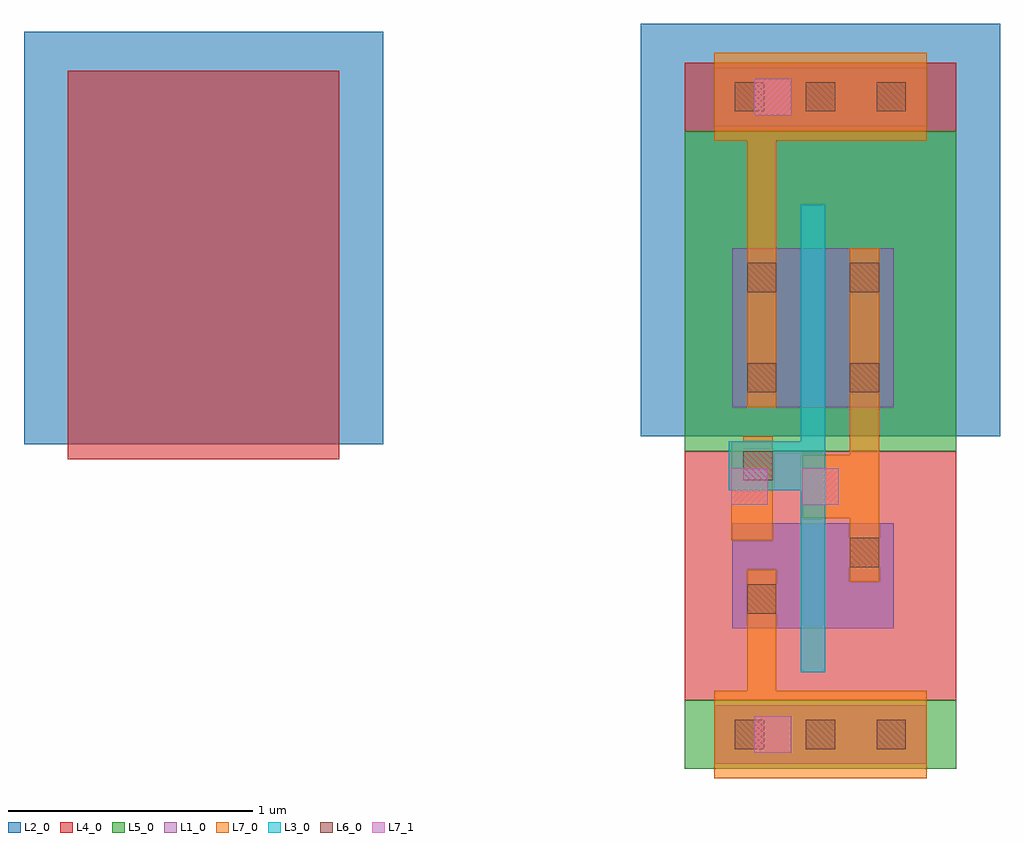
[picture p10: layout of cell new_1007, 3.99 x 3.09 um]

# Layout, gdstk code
import gdstk
lib = gdstk.Library(unit=1e-6, precision=1e-09)
def R(c, l, rs):  # rectangles x0, y0, x1, y1
    for r in rs: c.add(gdstk.rectangle(r[:2], r[2:], *l))
def A(c, l, x, y, w, h, nx, ny, dx, dy):  # array of equal rectangles
    R(c, l, [(x+i*dx, y+j*dy, x+i*dx+w, y+j*dy+h) for i in range(nx) for j in range(ny)])
L1_0 = (1, 0)
L2_0 = (2, 0)
L3_0 = (3, 0)
L4_0 = (4, 0)
L5_0 = (5, 0)
L6_0 = (6, 0)
L7_0 = (7, 0)
L7_1 = (7, 1)

invx1 = lib.new_cell('INVX1')
R(invx1, L1_0, [(0,-0.12,0.87,0.12), (0.075,0.435,0.735,0.865), (0.075,1.34,0.735,1.99), (0,2.49,0.87,2.73)])
R(invx1, L2_0, [(-0.3,1.22,1.17,2.91)])
R(invx1, L3_0, [(0.355,0.255,0.455,1), (0.06,1,0.455,1.2), (0.355,1.2,0.455,2.17)])
R(invx1, L4_0, [(-0.12,0.14,0.99,1.16), (-0.12,2.47,0.99,2.75)])
R(invx1, L5_0, [(-0.12,-0.14,0.99,0.14), (-0.12,1.16,0.99,2.47)])
A(invx1, L6_0, 0.085, -0.06, 0.12, 0.12, 3, 2, 0.29, 2.61)
R(invx1, L6_0, [(0.135,0.495,0.255,0.615), (0.555,0.685,0.675,0.805), (0.12,1.04,0.24,1.16), (0.135,1.4,0.255,1.52), (0.555,1.4,0.675,1.52), (0.135,1.81,0.255,1.93), (0.555,1.81,0.675,1.93)])
R(invx1, L7_0, [(0,-0.18,0.87,0.18), (0.135,0.18,0.255,0.675), (0.555,0.625,0.675,0.885), (0.07,0.795,0.24,1.2), (0.36,0.885,0.675,1.145), (0.555,1.145,0.675,1.99), (0.12,1.2,0.24,1.22), (0.135,1.34,0.255,2.43), (0,2.43,0.87,2.79)])
R(invx1, L7_1, [(0.165,-0.075,0.315,0.075), (0.07,0.94,0.22,1.09), (0.36,0.94,0.51,1.09), (0.165,2.535,0.315,2.685)])

new_1007 = lib.new_cell('new_1007')
R(new_1007, L2_0, [(-0.86,0.98,0.61,2.67)])
R(new_1007, L4_0, [(-0.68,0.92,0.43,2.51)])
new_1007.add(gdstk.Reference(invx1, (1.965,-0.207)))

lib.write_gds('new_1007.gds')
